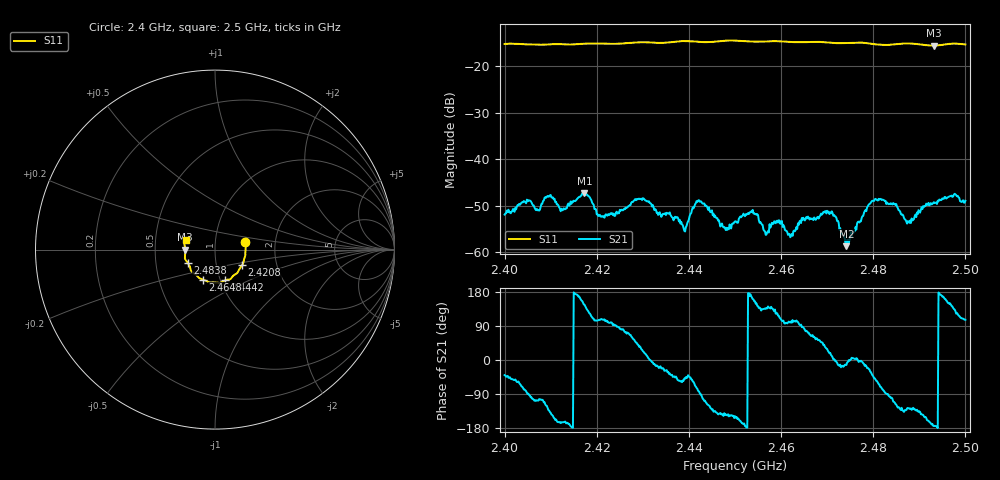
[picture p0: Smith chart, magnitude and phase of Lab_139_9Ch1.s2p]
# Hz S RI R 50
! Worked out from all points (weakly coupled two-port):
!   601 points, 2.4 GHz to 2.5 GHz, reference 50 ohm
!   highest |S21| = -47.28 dB at 2.4173 GHz (marker M1); lowest = -58.6 dB at 2.4742 GHz (marker M2)
!   lowest |S11| = -15.6 dB at 2.4932 GHz (marker M3), VSWR 1.40, Z = 35.8 - j0.0814 ohm
!   |S11| at or under -10 dB: start of sweep to end of sweep
!   S12 and S22 are empty: the file has one direction only
!   S11 on the Smith chart (normalised r, x): 2.4 GHz: 1.40, +0.12; 2.4208 GHz: 1.33, -0.24; 2.4442 GHz: 1.05, -0.37; 2.4648 GHz: 0.83, -0.29; 2.4838 GHz: 0.73, -0.11; 2.5 GHz: 0.72, +0.08
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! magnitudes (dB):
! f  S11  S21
! 2.4 GHz  -15.3  -51.9
! 2.4167 GHz  -15.2  -47.8
! 2.4173 GHz  -15.2  -47.3
! 2.4208 GHz  -15.2  -52.3
! 2.4292 GHz  -14.9  -48.4
! 2.4333 GHz  -15.0  -51.9
! 2.439 GHz  -14.6  -55.4
! 2.4418 GHz  -14.8  -49.1
! 2.4442 GHz  -14.9  -50.8
! 2.45 GHz  -14.5  -53.3
! 2.4537 GHz  -14.8  -51.3
! 2.462 GHz  -14.8  -56.7
! 2.4648 GHz  -14.9  -52.5
! 2.4667 GHz  -14.8  -52.8
! 2.4712 GHz  -15.0  -51.5
! 2.4742 GHz  -15.1  -58.6
! 2.4795 GHz  -15.2  -49.3
! 2.4833 GHz  -15.5  -49.6
! 2.4838 GHz  -15.4  -49.4
! 2.4877 GHz  -15.2  -53.4
! 2.4932 GHz  -15.6  -49.2
! 2.5 GHz  -15.4  -48.9
